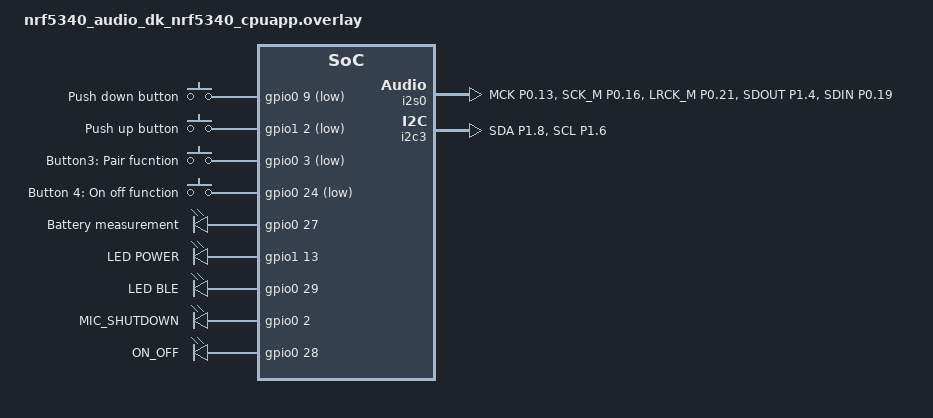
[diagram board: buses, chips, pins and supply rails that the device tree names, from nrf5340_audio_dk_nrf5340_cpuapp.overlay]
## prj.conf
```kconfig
#
# Copyright (c) 2022 Nordic Semiconductor ASA
#
# SPDX-License-Identifier: LicenseRef-Nordic-5-Clause
#

# nRF5340 Audio
CONFIG_NRF5340_AUDIO=y

# General
CONFIG_AUDIO_DEV=2
CONFIG_DEBUG_INFO=y
CONFIG_ASSERT=y
CONFIG_STACK_USAGE=y
CONFIG_THREAD_RUNTIME_STATS=y
CONFIG_STACK_SENTINEL=y
CONFIG_INIT_STACKS=y
CONFIG_TRANSPORT_BIS=n
CONFIG_TRANSPORT_CIS=y

# Uart driver
CONFIG_SERIAL=y

# Logging
CONFIG_LOG=y
CONFIG_NEWLIB_LIBC_FLOAT_PRINTF=y
CONFIG_LOG_TAG_MAX_LEN=2
CONFIG_LOG_TAG_DEFAULT="--"
CONFIG_LOG_INFO_COLOR_GREEN=y
# Console related defines
CONFIG_CONSOLE=y
CONFIG_RTT_CONSOLE=y
CONFIG_UART_CONSOLE=y

# Shell related defines
CONFIG_SHELL=y
CONFIG_KERNEL_SHELL=y
CONFIG_USE_SEGGER_RTT=y
## Disable logs on RTT
CONFIG_SHELL_RTT_INIT_LOG_LEVEL_NONE=y
CONFIG_SHELL_BACKEND_RTT=n
CONFIG_SHELL_BACKEND_SERIAL=n
CONFIG_SHELL_VT100_COLORS=y
CONFIG_SHELL_STACK_SIZE=1024
CONFIG_SHELL_CMD_BUFF_SIZE=128
## Reduce shell memory usage
CONFIG_SHELL_WILDCARD=n
CONFIG_SHELL_HELP_ON_WRONG_ARGUMENT_COUNT=n
CONFIG_SHELL_STATS=n
CONFIG_SHELL_CMDS=n
CONFIG_SHELL_HISTORY=y

# Turn off default shell commands
CONFIG_I2C_SHELL=n
CONFIG_HWINFO_SHELL=n
CONFIG_CLOCK_CONTROL_NRF_SHELL=n
CONFIG_FLASH_SHELL=n
CONFIG_DEVICE_SHELL=n

# Suppress err msg from sd_check_card_type. Because SPI_SDHC has no card presence method,
# assume card is in slot. Thus error message is always shown if card is not inserted
CONFIG_SD_LOG_LEVEL_OFF=y

CONFIG_AUDIO_SOURCE_I2S=y
CONFIG_STREAM_BIDIRECTIONAL=y
CONFIG_WALKIE_TALKIE_DEMO=y

#config clock to run first 
CONFIG_CLOCK_CONTROL_NRF_K32SRC_RC=y
CONFIG_BT_SMP=y
CONFIG_CLOCK_CONTROL_NRF_K32SRC_500PPM=y
CONFIG_I2C=y
CONFIG_I2C_NRFX=y
# CONFIG_NRFX_TWIM1=y
# CONFIG_NRFX_TWIM0=y
CONFIG_NRFX_SPIM4=n
CONFIG_NRFX_SPIM0=n
CONFIG_NRFX_UART0=n

CONFIG_DEBUG=y
CONFIG_SDHC=n
CONFIG_BT_DEVICE_NAME="LavalierMicrophone"


# Enable the BLE stack with GATT Client configuration
CONFIG_BT=y


#This is the config for gateway using peripheral NUS
#####################################################
#Enable the NUS service
# CONFIG_BT_NUS=y
# CONFIG_BT_PERIPHERAL=y
# CONFIG_BT_DEVICE_APPEARANCE=833
# CONFIG_BT_MAX_CONN=1
# CONFIG_BT_MAX_PAIRED=1
# # This example requires more workqueue stack
# CONFIG_SYSTEM_WORKQUEUE_STACK_SIZE=2048
# CONFIG_BT_EXT_ADV_MAX_ADV_SET=2
#######################################################



# #This is the config for speaker using central nus to exchange key and value data
# ######################################################
# # Enable the BLE stack with GATT Client configuration
# CONFIG_BT=y
# CONFIG_BT_CENTRAL=y
# CONFIG_BT_SMP=y
# CONFIG_BT_GATT_CLIENT=y

# # Enable the BLE modules from NCS
# CONFIG_BT_NUS_CLIENT=y
# CONFIG_BT_SCAN=y
# CONFIG_BT_SCAN_FILTER_ENABLE=y
# CONFIG_BT_SCAN_UUID_CNT=1
# CONFIG_BT_GATT_DM=y
# CONFIG_HEAP_MEM_POOL_SIZE=2048
# ## Config flash to 
# CONFIG_FLASH=y
# CONFIG_FLASH_PAGE_LAYOUT=y
# CONFIG_BT_SCAN_NAME_CNT=1

# CONFIG_NVS=y
# CONFIG_LOG=y
# CONFIG_NVS_LOG_LEVEL_DBG=y
# CONFIG_REBOOT=y
# CONFIG_MPU_ALLOW_FLASH_WRITE=y

# ######################################################
```

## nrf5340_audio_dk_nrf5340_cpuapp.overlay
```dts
// To get started, press Ctrl+Space to bring up the completion menu and view the available nodes.

// You can also use the buttons in the sidebar to perform actions on nodes.
// Actions currently available include:

// * Enabling / disabling the node
// * Adding the bus to a bus
// * Removing the node
// * Connecting ADC channels

// For more help, browse the DeviceTree documentation at https://docs.zephyrproject.org/latest/guides/dts/index.html
// You can also visit the nRF DeviceTree extension documentation at https://nrfconnect.github.io/vscode-nrf-connect/devicetree/nrfdevicetree.html
/{
	// leds:	leds {
	// 	rgb1_blue: led_2 {
	// 		gpios = <&gpio0 25 GPIO_ACTIVE_HIGH>;
	// 		label = "0 LED_RGB_BLUE";
	// 	};
	// };
	buttons {
		compatible = "gpio-keys";
		button_1_vol_dn: button_1_vol_dn {
			gpios = <&gpio0 9 (GPIO_PULL_UP | GPIO_ACTIVE_LOW)>;
			label = "Push down button";
		};
		button_2_vol_up: button_2_vol_up {
			gpios = <&gpio1 2 (GPIO_PULL_UP | GPIO_ACTIVE_LOW)>;
			label = "Push up button";
		};
		button_3_pair: button3_pair {
			gpios = <&gpio0 3 (GPIO_PULL_UP | GPIO_ACTIVE_LOW)>;
			label = "Button3: Pair fucntion";
		};
		button_4_on_off: button4_on_off {
			gpios = <&gpio0 24 (GPIO_PULL_DOWN|GPIO_ACTIVE_LOW)>;
			label = "Button 4: On off function";
		};
        // /delete-node/button5;
        // /delete-node/button4;
        // /delete-node/button3;
		// button5: button_5 {
		// 	gpios = <&gpio0 5 (GPIO_PULL_UP | GPIO_ACTIVE_LOW)>;
		// 	label = "Push button 5";
		// }
	};
	battery: battery
	{
		compatible = "gpio-leds";
		bat_measure: bat_measure
		{
			//compatible = "gpio-leds";
			gpios = <&gpio0 27 GPIO_ACTIVE_HIGH>;
			label = "Battery measurement";
		};
	};
    user_leds:	user_leds {
        compatible = "gpio-leds";
        led_pwr: led_power{
            gpios = <&gpio1 13 GPIO_ACTIVE_HIGH>;
            label = "LED POWER";
        };
        led_ble: led_bluetooth{
            gpios = <&gpio0 29 GPIO_ACTIVE_HIGH>;
            label = "LED BLE";
        };


    };
	inout: inout{
		compatible = "gpio-leds";
		mic_shutdown: mic_shutdown{
			gpios = <&gpio0 2 GPIO_ACTIVE_HIGH>;
			label = "MIC_SHUTDOWN";
		};
		on_off_control: on_off_control{
			gpios = <&gpio0 28 GPIO_ACTIVE_HIGH>;
			//lable = "ON_OFF";
			label = "ON_OFF";
		};
	};
     /delete-node/nrf5340_audio_dk;
    // /delete-node/nrf5340_audio_dk;
    aliases
     {
        /delete-property/led0;
        led0 = &led_pwr;
        led1 = &led_ble;
        sw0 = &button_1_vol_dn;
		sw1 = &button_2_vol_up;
		sw2 = &button_3_pair;
		sw3 = &button_4_on_off;
	    mic = &mic_shutdown;
		onoff = &on_off_control;
     };
};


&pinctrl{
    i2s_user: i2s0_user
    {
		group1 {
			psels = <NRF_PSEL(I2S_MCK, 0, 13)>;
			nordic,drive-mode = <NRF_DRIVE_H0H1>;
		};
		group2 {
			psels = <NRF_PSEL(I2S_SCK_M, 0, 16)>,
				<NRF_PSEL(I2S_LRCK_M, 0, 21)>,
				<NRF_PSEL(I2S_SDOUT, 1, 4)>,
				<NRF_PSEL(I2S_SDIN, 0, 19)>;
		};
    };
	i2c1_default: i2c1_default {
		group1 {
			psels = <NRF_PSEL(TWIM_SDA, 1, 2)>,
				<NRF_PSEL(TWIM_SCL, 1, 4)>;
            bias-pull-up;
			
		};
	};
    
	i2c1_sleep: i2c1_sleep {
		group1 {
			psels = <NRF_PSEL(TWIM_SDA, 1, 6)>,
				<NRF_PSEL(TWIM_SCL, 1, 8)>;
			low-power-enable;
		};
	};
    i2c0_default: i2c0_default {
		group1 {
			psels = <NRF_PSEL(TWIM_SDA, 1, 8)>,
				<NRF_PSEL(TWIM_SCL, 1, 4)>;
            bias-pull-up;
			
		};
	};
    i2c3_default: i2c3_default {
		group1 {
			psels = <NRF_PSEL(TWIM_SDA, 1, 8)>,
				<NRF_PSEL(TWIM_SCL, 1, 6)>;
            bias-pull-up;
			
		};
	};
    i2c3_sleep: i2c3_sleep {
		group1 {
			psels = <NRF_PSEL(TWIM_SDA, 1, 8)>,
				<NRF_PSEL(TWIM_SCL, 1, 6)>;
            //bias-pull-up;
            low-power-enable;
		};
	};
    i2c4_default: i2c4_default {
		group1 {
			psels = <NRF_PSEL(TWIM_SDA, 1, 8)>,
				<NRF_PSEL(TWIM_SCL, 1, 9)>;
            bias-pull-up;
			
		};
	};
    
	i2c1_sleep: i2c1_sleep {
		group1 {
			psels = <NRF_PSEL(TWIM_SDA, 1, 6)>,
				<NRF_PSEL(TWIM_SCL, 1, 8)>;
			low-power-enable;
		};
	};

};

// &i2s0 {
// 	compatible = "nordic,nrf-i2s";
// 	status = "okay";
// 	pinctrl-0 = <&i2s_user>;
// 	pinctrl-names = "user_i2s";
// };

// &i2s0 {
// 	compatible = "nordic,nrf-i2s";
// 	status = "okay";
// 	//pinctrl-0 = <&i2s_user>;
// 	pinctrl-names = "default";
// };
// &i2c1 {
// 	compatible = "nordic,nrf-twim";
// 	status = "okay";
// 	pinctrl-0 = <&i2c_user>;
// 	//pinctrl-1 = <&i2c1_sleep>;
// 	pinctrl-names = "default", "sleep";
// };

&i2s0 {
	compatible = "nordic,nrf-i2s";
	status = "okay";
    pinctrl-0 = <&i2s_user>;
    pinctrl-names = "default";
};
&i2c3 {
    compatible = "nordic,nrf-twim";
    status = "okay";
    pinctrl-0 = <&i2c3_default>;
    pinctrl-1 =  <&i2c3_sleep>;
    pinctrl-names = "default","sleep";
};
&i2c1 {
    status = "disabled";
};
// &i2c1 {
//     compatible = "nordic,nrf-twim";
// 	status = "okay";
// 	pinctrl-0 = <&i2c_user>;
// 	pinctrl-names = "user_i2c";
// };

&uart0 {
    status = "disabled";
	current-speed = <115200>;
	pinctrl-0 = <&uart0_default>;
    /delete-property/ pinctrl-1;
    /delete-property/ pinctrl-0;
    /delete-property/pinctrl-names;
    //pinctrl-names = "default";
};

// &spi4{
//     //status = "oka";
//     /delete-property/ pinctrl-1;
//     /delete-property/ pinctrl-0;
//     /delete-property/pinctrl-names;
//     status = "disabled";
// 	sdhc0: sdhc@0 {
// 		compatible = "zephyr,sdhc-spi-slot";
// 		reg = <0>;
// 		status = "disabled";
// 		mmc {
// 			compatible = "zephyr,sdmmc-disk";
// 			status = "disabled";
// 		};

// 		spi-max-frequency = <8000000>;
//     };
// };
// &i2c1 {
// 	compatible = "nordic,nrf-twim";
// 	status = "okay";
// 	pinctrl-0 = <&i2c_user>;
//     clock-frequency = < I2C_BITRATE_STANDARD >;
// 	/delete-property/ pinctrl-1;
// 	pinctrl-names = "default";
//     es8311:es8311@19
//     {
//         compatible = "i2c-device";
//         reg = <0x19>;
//     };
// };


&pwm0 {
	status = "disabled";
};

&timer0 {
	status = "disabled";
};

&timer1 {
	status = "disabled";
};

&timer2 {
	status = "disabled";
};
zephyr_udc0: &usbd {
	//compatible = "nordic,nrf-usbd";
	status = "disabled";

	// hs_0: hs_0 {
	// 	compatible = "usb-audio-hs";
	// 	mic-feature-mute;
	// 	mic-channel-l;
	// 	mic-channel-r;

	// 	hp-feature-mute;
	// 	hp-channel-l;
	// 	hp-channel-r;
	// };
};

// /{
// //     /delete-node/gpio_fwd;
// // gpio_fwd: nrf-gpio-forwarder {
// //     //compatible = "nordic,nrf-gpio-forwarder";
// //     status = "disabled";
// //     /delete-node/uart;
// //     /delete-node/leds;
// //     uart {
// //         gpios = <&gpio1 9 0>, <&gpio1 8 0>, <&gpio1 11 0>, <&gpio1 10 0>;
// //     };
// //     leds {
// //         gpios = <&gpio0 28 0>, <&gpio0 29 0>, <&gpio0 30 0>;
// //     };
// };
// };
```

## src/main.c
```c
/*
 * Copyright (c) 2018 Nordic Semiconductor ASA
 *
 * SPDX-License-Identifier: LicenseRef-Nordic-5-Clause
 */

#include <zephyr/kernel.h>
#include <zephyr/debug/stack.h>
#include <zephyr/device.h>
#include <string.h>

#include <zephyr/bluetooth/bluetooth.h>
#include <zephyr/settings/settings.h>

#include "macros_common.h"
#include "fw_info_app.h"
#include "led.h"
#include "button_handler.h"
#include "button_assignments.h"
#include "nrfx_clock.h"
#include "ble_core.h"
#include "power_module.h"
#include "sd_card.h"
#include "audio_system.h"
#include "channel_assignment.h"
#include "streamctrl.h"
#include "hw_output.h"
#include "ble_custom_nus.h"
#include "battery_measurement.h"
#include "ble_custom_nus_central.h"

#if defined(CONFIG_AUDIO_DFU_ENABLE)
#include "dfu_entry.h"
#endif

#include <zephyr/logging/log.h>
LOG_MODULE_REGISTER(main, CONFIG_MAIN_LOG_LEVEL);

#if defined(CONFIG_INIT_STACKS)
/* Used for printing stack usage */
extern struct k_thread z_main_thread;
#endif /* defined(CONFIG_INIT_STACKS) */

static atomic_t ble_core_is_ready = (atomic_t) false;
static int hfclock_config_and_start(void)
{
	int ret;

	/* Use this to turn on 128 MHz clock for cpu_app */
	ret = nrfx_clock_divider_set(NRF_CLOCK_DOMAIN_HFCLK, NRF_CLOCK_HFCLK_DIV_1);

	ret -= NRFX_ERROR_BASE_NUM;
	if (ret) {
		return ret;
	}

	nrfx_clock_hfclk_start();
	while (!nrfx_clock_hfclk_is_running()) {
	}

	return 0;
}

static int bonding_clear_check(void)
{
	// int ret;
	// bool pressed;

	// // ret = button_pressed(BUTTON_5, &pressed);
	// // if (ret) {
	// // 	return ret;
	// // }

	// if (pressed) {
	// 	if (IS_ENABLED(CONFIG_SETTINGS)) {
	// 		LOG_INF("Clearing all bonds");
	// 		bt_unpair(BT_ID_DEFAULT, NULL);
	// 	}
	// }
	return 0;
}

static int channel_assign_check(void)
{
#if (CONFIG_AUDIO_DEV == HEADSET) && CONFIG_AUDIO_HEADSET_CHANNEL_RUNTIME
	int ret;
	bool pressed;

	ret = button_pressed(BUTTON_VOLUME_DOWN, &pressed);
	if (ret) {
		return ret;
	}

	if (pressed) {
		channel_assignment_set(AUDIO_CH_L);
		return 0;
	}

	ret = button_pressed(BUTTON_VOLUME_UP, &pressed);
	if (ret) {
		return ret;
	}

	if (pressed) {
		channel_assignment_set(AUDIO_CH_R);
		return 0;
	}
#endif

	return 0;
}

/* Callback from ble_core when the ble subsystem is ready */
void on_ble_core_ready(void)
{
	int ret;

	(void)atomic_set(&ble_core_is_ready, (atomic_t) true);

	if (IS_ENABLED(CONFIG_SETTINGS)) {
		settings_load();

		ret = bonding_clear_check();
		ERR_CHK(ret);
	}
}

void main(void)
{
	int ret;

	LOG_INF("nRF5340 APP core started");

	ret = hfclock_config_and_start();
	ERR_CHK(ret);

	ret = led_init();
	ERR_CHK(ret);
	led_blink(0 , 1);
	led_blink(1 , 1);

	ret = button_handler_init();
	ERR_CHK(ret);

	channel_assignment_init();

	ret = channel_assign_check();
	ERR_CHK(ret);

	// ret = fw_info_app_print();
	// ERR_CHK(ret);
	ret = hw_output_init();
	ERR_CHK(ret);
	hw_output_set_level(GPIO_ON_OFF_CTRL, 1);
	
	ret = battery_measurement_init();
	ERR_CHK(ret);
#if defined(CONFIG_AUDIO_DFU_ENABLE)
	/* Check DFU BTN before Initialize BLE */
	dfu_entry_check();
#endif

	/* Initialize BLE, with callback for when BLE is ready */
	ret = ble_core_init(on_ble_core_ready);
	ERR_CHK(ret);

	/* Wait until ble_core/NET core is ready */
	while (!(bool)atomic_get(&ble_core_is_ready)) {
		(void)k_sleep(K_MSEC(100));
	}
	/*Init Nus custom for pairing feature*/
	ultilities_load_mac(); // load device mac address
#if(CONFIG_AUDIO_DEV == 2 && IS_ENABLED(CONFIG_TRANSPORT_BIS))
	ble_custom_nus_init();
#elif(CONFIG_AUDIO_DEV == 1 && IS_ENABLED(CONFIG_TRANSPORT_BIS))
	ble_custom_nus_central_init();
	pair_ultilities_flash_init();
#endif
	audio_system_init();

	ret = streamctrl_start();
	ERR_CHK(ret);

	while (1) {
		streamctrl_event_handler();
		STACK_USAGE_PRINT("main", &z_main_thread);
	}
}
```
